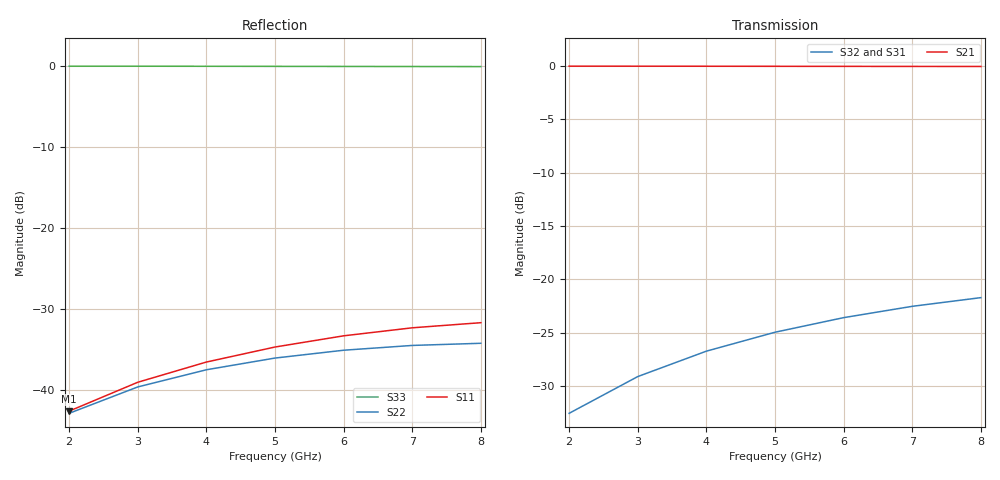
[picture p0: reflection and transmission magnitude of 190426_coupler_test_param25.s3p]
! Sonnet Data File
! From: emgraph Version : 16.56
! From Project: 190426_coupler_test
! Data is De-embedded
! Data File Written: 05/06/2019 15:59:44
!< HDATE 04/25/2019 10:48:44
!< MDATE 04/25/2019 10:59:35
!< PARAMS
!< tandelta = 0.0
!< t_aSi = 0.25
!< W = 10.0
!< Lcoupler = 2400.0
!< END PARAMS
# GHZ S MA R 50.0 !  non standard terminations in data
! TERM 50.00000 0.000000 50.00000 0.000000 63.84000 0.000000
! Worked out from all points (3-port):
!   7 points, 2 GHz to 8 GHz, reference 50 ohm
!   strongest paths, dB at 2 GHz, 3 GHz, 5 GHz, 7 GHz, 8 GHz:
!     S21: 0.0, 0.0, 0.0, 0.0, 0.0
!     S32: -32.5, -29.1, -24.9, -22.5, -21.7
!     S31: -32.6, -29.2, -25.1, -22.7, -21.9
!   lowest |S11| = -42.6 dB at 2 GHz (marker M1), VSWR 1.01, Z = 50.3 + j0.699 ohm
!   |S11| at or under -10 dB: start of sweep to end of sweep
2  0.007415 69.8  0.9997 -21.7  0.02351 49.9
   0.9997 -21.7  0.007187 70.7  0.02358 74.7
   0.02351 49.9  0.02358 74.7  0.9994 -34.0
3  0.01117 59.0  0.9993 -32.6  0.03484 29.9
   0.9993 -32.6  0.01046 61.1  0.03506 66.9
   0.03484 29.9  0.03506 66.9  0.9988 -51.1
4  0.0149 47.4  0.9988 -43.4  0.04564 9.8
   0.9988 -43.4  0.01335 51.6  0.04612 59.1
   0.04564 9.8  0.04612 59.1  0.9979 -68.3
5  0.01844 35.0  0.9983 -54.3  0.05577 -10.3
   0.9983 -54.3  0.01576 42.1  0.05658 51.1
   0.05577 -10.3  0.05658 51.1  0.9968 -85.5
6  0.02163 21.8  0.9976 -65.1  0.06503 -30.4
   0.9976 -65.1  0.01762 32.7  0.06623 43.0
   0.06503 -30.4  0.06623 43.0  0.9957 -102.7
7  0.02423 7.9  0.997 -75.9  0.07327 -50.5
   0.997 -75.9  0.01886 23.4  0.07484 34.8
   0.07327 -50.5  0.07484 34.8  0.9945 -120.1
8  0.02607 -6.8  0.9964 -86.7  0.08034 -70.7
   0.9964 -86.7  0.01945 14.3  0.0822 26.5
   0.08034 -70.7  0.0822 26.5  0.9934 -137.5
